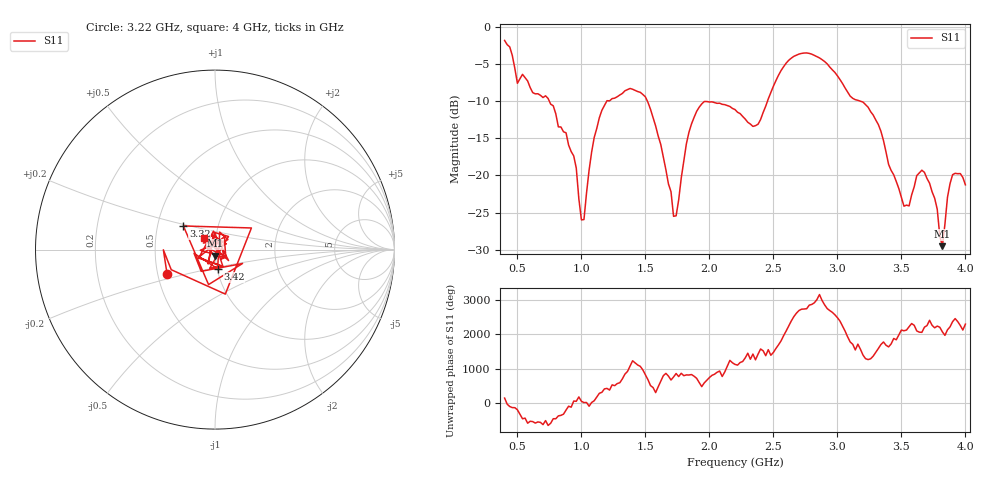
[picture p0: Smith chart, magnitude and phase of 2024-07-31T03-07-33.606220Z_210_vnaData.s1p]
!Created with skrf (http://scikit-rf.org).
# Hz S RI R 50.0
!freq ReS11 ImS11
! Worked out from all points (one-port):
!   181 points, 400 MHz to 4 GHz, reference 50 ohm
!   lowest |S11| = -29.5 dB at 3.82 GHz (marker M1), VSWR 1.07, Z = 49.9 - j3.34 ohm
!   |S11| at or under -10 dB: 749.2 MHz to 1.198 GHz (449.1 MHz wide, 46.1 % of centre); 1.515 GHz to 2.454 GHz (938.4 MHz wide, 47.3 % of centre); 3.178 GHz to end of sweep
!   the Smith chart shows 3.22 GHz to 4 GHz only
!   S11 on the Smith chart (normalised r, x): 3.22 GHz: 0.56, -0.17; 3.32 GHz: 0.68, +0.19; 3.42 GHz: 1.01, -0.22; 4 GHz: 0.88, +0.11
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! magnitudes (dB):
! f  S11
! 400 MHz  -1.8
! 500 MHz  -7.6
! 740 MHz  -9.6
! 860 MHz  -14.1
! 940 MHz  -17.4
! 1.02 GHz  -25.9
! 1.08 GHz  -16.8
! 1.14 GHz  -12.2
! 1.3 GHz  -9.2
! 1.5 GHz  -9.4
! 1.62 GHz  -15.8
! 1.72 GHz  -25.5
! 1.76 GHz  -23.3
! 1.84 GHz  -14.2
! 1.92 GHz  -10.8
! 2.2 GHz  -11.1
! 2.38 GHz  -13.1
! 2.66 GHz  -4.0
! 2.88 GHz  -4.4
! 3.1 GHz  -9.3
! 3.22 GHz  -10.5
! 3.32 GHz  -13.2
! 3.42 GHz  -19.3
! 3.56 GHz  -24.1
! 3.68 GHz  -19.6
! 3.82 GHz  -29.5
! 3.9 GHz  -19.9
! 4 GHz  -21.3
